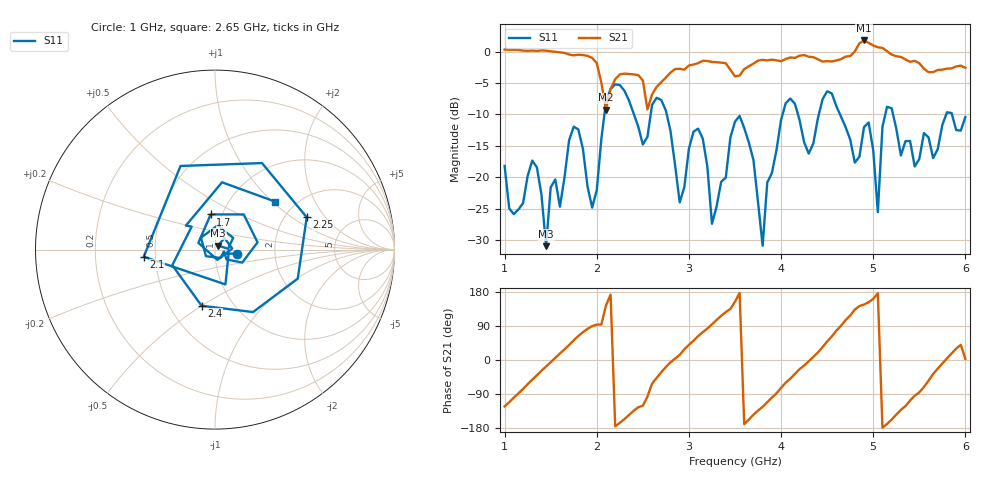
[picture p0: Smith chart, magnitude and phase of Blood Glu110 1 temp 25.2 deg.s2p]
! NanoVNA-App
! Date: 2024-03-21 14:22:35
! Start: 1GHz Stop: 6GHz Points: 101
! S-Parameter data: F S11 S21 S12 S22
# Hz S RI R 50
!	Frequency	S11_Real	S11_Imag	S21_Real	S21_Imag	S12_Real	S12_Imag	S22_Real	S22_Imag
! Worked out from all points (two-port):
!   101 points, 1 GHz to 6 GHz, reference 50 ohm
!   highest |S21| = 1.77 dB at 4.9 GHz (marker M1); lowest = -9.2 dB at 2.1 GHz (marker M2)
!   |S21| within 3 dB of the highest: start of sweep to 1.964 GHz; 4.645 GHz to 5.348 GHz (702.9 MHz wide, 14.1 % of centre)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
!   lowest |S11| = -30.9 dB at 1.45 GHz (marker M3), VSWR 1.06, Z = 51.7 + j2.33 ohm
!   |S11| at or under -10 dB: start of sweep to 2.083 GHz; 2.76 GHz to 4.016 GHz (1.257 GHz wide, 37.1 % of centre); 5.215 GHz to 5.791 GHz (576.1 MHz wide, 10.5 % of centre)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
!   S12 and S22 are empty: the file has one direction only
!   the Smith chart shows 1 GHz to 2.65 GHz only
!   S11 on the Smith chart (normalised r, x): 1 GHz: 1.27, -0.06; 1.7 GHz: 0.88, +0.36; 2.1 GHz: 0.43, -0.04; 2.25 GHz: 2.60, +1.33; 2.4 GHz: 0.72, -0.50; 2.65 GHz: 1.59, +1.04
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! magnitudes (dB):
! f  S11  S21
! 1 GHz  -18.2  0.3
! 1.35 GHz  -18.4  0.1
! 1.45 GHz  -30.9  0.2
! 1.7 GHz  -14.1  -0.5
! 1.85 GHz  -15.5  -0.5
! 1.95 GHz  -24.8  -1.0
! 2.1 GHz  -8.0  -9.2
! 2.25 GHz  -5.3  -3.6
! 2.4 GHz  -9.8  -3.6
! 2.65 GHz  -7.3  -5.6
! 2.7 GHz  -7.7  -4.9
! 2.9 GHz  -24.0  -2.7
! 3.15 GHz  -13.8  -1.5
! 3.25 GHz  -27.4  -1.6
! 3.5 GHz  -11.1  -3.9
! 3.8 GHz  -30.9  -1.3
! 4.05 GHz  -8.2  -1.2
! 4.35 GHz  -14.6  -0.9
! 4.9 GHz  -12.0  1.8
! 5.05 GHz  -25.5  0.7
! 5.2 GHz  -9.0  -0.5
! 6 GHz  -10.4  -2.6
